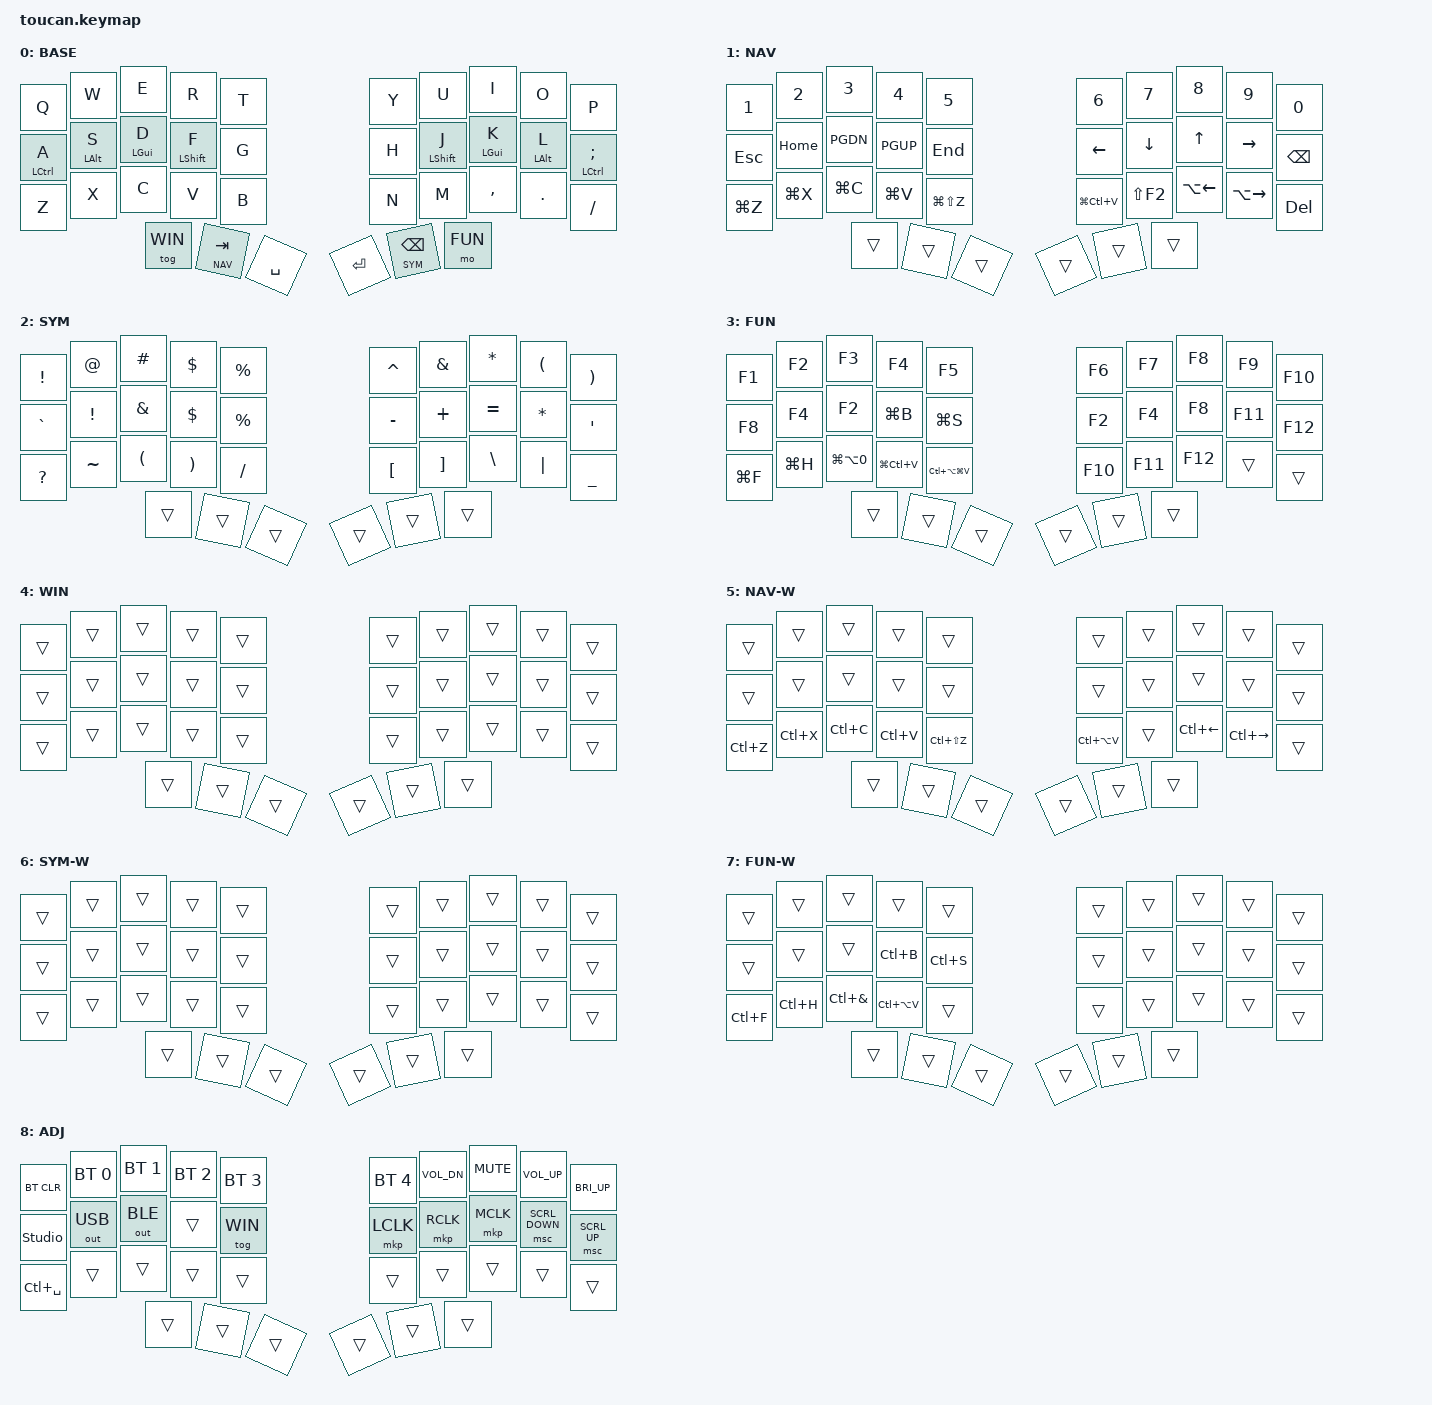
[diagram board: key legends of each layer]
#include <behaviors.dtsi>
#include <dt-bindings/zmk/keys.h>
#include <dt-bindings/zmk/bt.h>
#include <dt-bindings/zmk/outputs.h>
#include <dt-bindings/zmk/pointing.h>

/*
 * Locked Toucan 2 hybrid keymap — 36-key (3×5 + thumbs), QWERTY, Mac-primary.
 * See LAYOUT.md for layer diagrams, WIN toggle, Bluetooth profiles, and flash notes.
 *
 * Layers:
 *   0 BASE     QWERTY + home-row mods
 *   1 NAV      numbers, arrows/word-jump, Mac clipboard (ZXCVB order)
 *   2 SYM      Dae old punctuation pack (no F-keys, no Excel)
 *   3 FUN      F-keys + Bloomberg home + Excel pack on bottom
 *   4 WIN      sticky OS flag (display shows WIN); chords stay Mac until NAV/FUN
 *   5 WIN_NAV  NAV + WIN: Cmd→Ctrl clipboard / Ctrl-word-jump
 *   6 WIN_SYM  SYM + WIN: stub (&trans; punctuation is OS-agnostic)
 *   7 WIN_FUN  FUN + WIN: Cmd→Ctrl Excel pack on FUN
 *   8 ADJ      NAV+SYM tri-layer: BT, media, brightness, Studio, mouse fallback
 *
 * Bluetooth: Profile 0 = Mac, Profile 1 = Windows LVDI
 *
 * Thumbs L→R: WIN (tog) · NAV (lt Tab) · Space | Enter · SYM (lt BSPC) · FUN (mo)
 */

#define BASE     0
#define NAV      1
#define SYM      2
#define FUN      3
#define WIN      4
#define WIN_NAV  5
#define WIN_SYM  6
#define WIN_FUN  7
#define ADJ      8

/* Mac (default) edit / Excel chords */
#define U_UNDO  &kp LG(Z)
#define U_CUT   &kp LG(X)
#define U_COPY  &kp LG(C)
#define U_PASTE &kp LG(V)
#define U_REDO  &kp LG(LS(Z))
#define U_PSP   &kp LG(LC(V))   /* Excel Mac Paste Special: Cmd+Ctrl+V */
#define U_CMT   &kp LS(F2)      /* Excel comment / edit cell note */
#define U_FIND  &kp LG(F)
#define U_REPL  &kp LG(H)
#define U_BORD  &kp LG(LA(N0))  /* Excel Mac outline border: Cmd+Opt+0 */
#define U_TYPECLIP &kp LC(LA(LG(V))) /* Mac Type Clipboard into LVDI Shortcuts hotkey (Ctrl+Opt+Cmd+V) */
#define U_BOLD  &kp LG(B)
#define U_SAVE  &kp LG(S)
#define U_WDL   &kp LA(LEFT)    /* Mac Option word-jump */
#define U_WDR   &kp LA(RIGHT)
#define U_LANG  &kp LC(SPACE)   /* Mac next input source */

/* Windows LVDI variants (WIN toggle + NAV/FUN). Same physical positions. */
#define W_UNDO  &kp LC(Z)
#define W_CUT   &kp LC(X)
#define W_COPY  &kp LC(C)
#define W_PASTE &kp LC(V)
#define W_REDO  &kp LC(LS(Z))
#define W_PSP   &kp LC(LA(V))   /* Excel Win Paste Special: Ctrl+Alt+V */
#define W_FIND  &kp LC(F)
#define W_REPL  &kp LC(H)
#define W_BORD  &kp LC(AMPS)    /* Excel Win outline border: Ctrl+& */
#define W_BOLD  &kp LC(B)
#define W_SAVE  &kp LC(S)
#define W_WDL   &kp LC(LEFT)    /* Win Ctrl word-jump */
#define W_WDR   &kp LC(RIGHT)

/*
 * 36-key positions (row-major, 0–35):
 *   0–4 / 5–9     top
 *  10–14 / 15–19  home
 *  20–24 / 25–29  bottom
 *  30–35          thumbs
 */
#define KEYS_L 0 1 2 3 4 10 11 12 13 14 20 21 22 23 24 30 31 32
#define KEYS_R 5 6 7 8 9 15 16 17 18 19 25 26 27 28 29 33 34 35
#define THUMBS 30 31 32 33 34 35

/ {
    behaviors {
        /* Forgiving HRM: tap-preferred, long tapping-term, positional opposite-hand hold. */
        hml: homerow_mods_left {
            compatible = "zmk,behavior-hold-tap";
            #binding-cells = <2>;
            flavor = "tap-preferred";
            tapping-term-ms = <300>;
            quick-tap-ms = <180>;
            require-prior-idle-ms = <175>;
            bindings = <&kp>, <&kp>;
            hold-trigger-key-positions = <KEYS_R THUMBS>;
            hold-trigger-on-release;
        };

        hmr: homerow_mods_right {
            compatible = "zmk,behavior-hold-tap";
            #binding-cells = <2>;
            flavor = "tap-preferred";
            tapping-term-ms = <300>;
            quick-tap-ms = <180>;
            require-prior-idle-ms = <175>;
            bindings = <&kp>, <&kp>;
            hold-trigger-key-positions = <KEYS_L THUMBS>;
            hold-trigger-on-release;
        };
    };

    conditional_layers {
        compatible = "zmk,conditional-layers";

        tri_layer {
            if-layers = <NAV SYM>;
            then-layer = <ADJ>;
        };

        win_nav_layer {
            if-layers = <NAV WIN>;
            then-layer = <WIN_NAV>;
        };

        win_sym_layer {
            if-layers = <SYM WIN>;
            then-layer = <WIN_SYM>;
        };

        win_fun_layer {
            if-layers = <FUN WIN>;
            then-layer = <WIN_FUN>;
        };
    };

    keymap {
        compatible = "zmk,keymap";

        base {
            display-name = "BASE";
            bindings = <
                &kp Q      &kp W      &kp E      &kp R      &kp T          &kp Y      &kp U      &kp I      &kp O      &kp P
                &hml LCTRL A &hml LALT S &hml LGUI D &hml LSHFT F &kp G    &kp H      &hmr LSHFT J &hmr LGUI K &hmr LALT L &hmr LCTRL SEMI
                &kp Z      &kp X      &kp C      &kp V      &kp B          &kp N      &kp M      &kp COMMA  &kp DOT    &kp FSLH
                                   &tog WIN  &lt NAV TAB  &kp SPACE    &kp RET    &lt SYM BSPC  &mo FUN
            >;
        };

        nav {
            display-name = "NAV";
            bindings = <
                &kp N1     &kp N2     &kp N3     &kp N4     &kp N5         &kp N6     &kp N7     &kp N8     &kp N9     &kp N0
                &kp ESC    &kp HOME   &kp PGDN   &kp PGUP   &kp END        &kp LEFT   &kp DOWN   &kp UP     &kp RIGHT  &kp BSPC
                U_UNDO     U_CUT      U_COPY     U_PASTE    U_REDO         U_PSP      U_CMT      U_WDL      U_WDR      &kp DELETE
                                   &trans     &trans      &trans       &trans     &trans       &trans
            >;
        };

        sym {
            display-name = "SYM";
            bindings = <
                &kp EXCL   &kp AT     &kp HASH   &kp DLLR   &kp PRCNT      &kp CARET  &kp AMPS   &kp ASTRK  &kp LPAR   &kp RPAR
                &kp GRAVE  &kp EXCL   &kp AMPS   &kp DLLR   &kp PRCNT      &kp MINUS  &kp PLUS   &kp EQUAL  &kp ASTRK  &kp APOS
                &kp QMARK  &kp TILDE  &kp LPAR   &kp RPAR   &kp FSLH       &kp LBKT   &kp RBKT   &kp BSLH   &kp PIPE   &kp UNDER
                                   &trans     &trans      &trans       &trans     &trans       &trans
            >;
        };

        fun {
            display-name = "FUN";
            bindings = <
                &kp F1     &kp F2     &kp F3     &kp F4     &kp F5         &kp F6     &kp F7     &kp F8     &kp F9     &kp F10
                &kp F8     &kp F4     &kp F2     U_BOLD     U_SAVE         &kp F2     &kp F4     &kp F8     &kp F11    &kp F12
                U_FIND     U_REPL     U_BORD     U_PSP      U_TYPECLIP     &kp F10    &kp F11    &kp F12    &trans     &trans
                                   &trans     &trans      &trans       &trans     &trans       &trans
            >;
        };

        win {
            display-name = "WIN";
            bindings = <
                &trans     &trans     &trans     &trans     &trans         &trans     &trans     &trans     &trans     &trans
                &trans     &trans     &trans     &trans     &trans         &trans     &trans     &trans     &trans     &trans
                &trans     &trans     &trans     &trans     &trans         &trans     &trans     &trans     &trans     &trans
                                   &trans     &trans      &trans       &trans     &trans       &trans
            >;
        };

        win_nav {
            display-name = "NAV-W";
            bindings = <
                &trans     &trans     &trans     &trans     &trans         &trans     &trans     &trans     &trans     &trans
                &trans     &trans     &trans     &trans     &trans         &trans     &trans     &trans     &trans     &trans
                W_UNDO     W_CUT      W_COPY     W_PASTE    W_REDO         W_PSP      &trans     W_WDL      W_WDR      &trans
                                   &trans     &trans      &trans       &trans     &trans       &trans
            >;
        };

        win_sym {
            display-name = "SYM-W";
            bindings = <
                &trans     &trans     &trans     &trans     &trans         &trans     &trans     &trans     &trans     &trans
                &trans     &trans     &trans     &trans     &trans         &trans     &trans     &trans     &trans     &trans
                &trans     &trans     &trans     &trans     &trans         &trans     &trans     &trans     &trans     &trans
                                   &trans     &trans      &trans       &trans     &trans       &trans
            >;
        };

        win_fun {
            display-name = "FUN-W";
            bindings = <
                &trans     &trans     &trans     &trans     &trans         &trans     &trans     &trans     &trans     &trans
                &trans     &trans     &trans     W_BOLD     W_SAVE         &trans     &trans     &trans     &trans     &trans
                W_FIND     W_REPL     W_BORD     W_PSP      &trans         &trans     &trans     &trans     &trans     &trans
                                   &trans     &trans      &trans       &trans     &trans       &trans
            >;
        };

        adj {
            display-name = "ADJ";
            bindings = <
                &bt BT_CLR &bt BT_SEL 0 &bt BT_SEL 1 &bt BT_SEL 2 &bt BT_SEL 3   &bt BT_SEL 4 &kp C_VOL_DN &kp C_MUTE &kp C_VOL_UP &kp C_BRI_UP
                &studio_unlock &out OUT_USB &out OUT_BLE &trans &tog WIN         &mkp LCLK  &mkp RCLK  &mkp MCLK  &msc SCRL_DOWN &msc SCRL_UP
                U_LANG     &trans     &trans     &trans     &trans         &trans     &trans     &trans     &trans     &trans
                                   &trans     &trans      &trans       &trans     &trans       &trans
            >;
        };

        extra_studio {
            status = "reserved";
        };
    };
};
